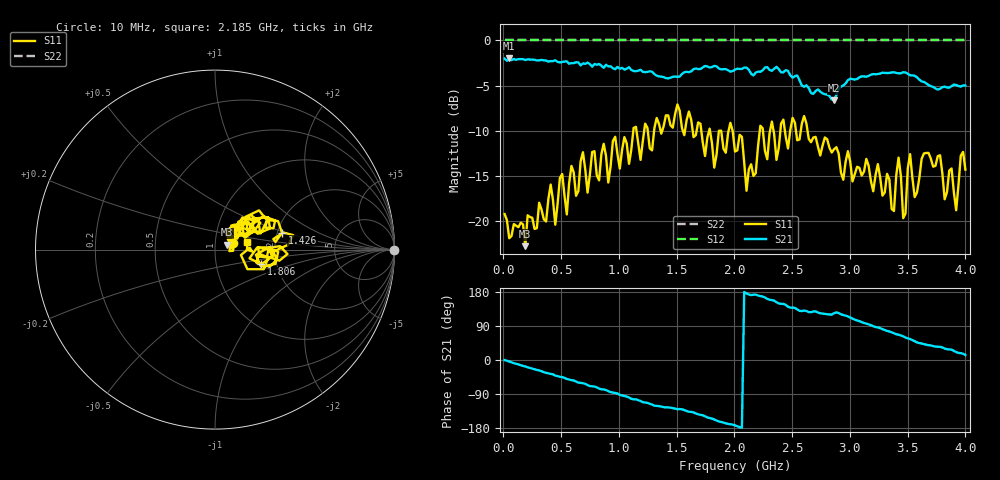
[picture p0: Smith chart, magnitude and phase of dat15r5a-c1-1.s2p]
! Anritsu VNA Master:  Model: MS2024B
! SN:  2417009
! /card0/usr/dat15r5a-c1-1.s2p
! Existing Calibration Information:
! TYPE:  Current Settings,  Active Cal Settings
! TIME:  11/03/2026 03:20:18 PM,  11/03/2026 01:15:51 PM
! INTERNAL TEMP:  49.8 C,  37.0 C
! # POINTS:  201,  201
! START FREQ:  10.000 MHz,  10.000 MHz
! STOP FREQ:  4.000 GHz,  4.000 GHz
! SOURCE POWER:  Default,  Default
! IFBW:  1 kHz,  1 kHz
! AVG FACTOR:  1 ,  1
! REF PLANE 1:  0 mm,  0 mm
! REF PLANE 2:  0 mm,  0 mm
! CAL TYPE:  1P2P S11,S21,  1P2P S11,S21
! CAL METHOD:  SOLT,  SOLT
! CAL LINE TYPE:  Coax,  Coax
! DUT PORT 1:  N-Conn(M),  N-Conn(M)
! DUT PORT 2:  N-Conn(M),  N-Conn(M)
! CAL STATUS:  X: Accuracy low (|Temp diff| > 10.0 C),  --
# GHZ S DB R 50.0
! FREQ.GHZ  S11DB  S11A  S21DB  S21A  S12DB  S12A  S22DB  S22A
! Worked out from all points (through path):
!   201 points, 10 MHz to 4 GHz, reference 50 ohm
!   highest |S21| = -1.99 dB at 49.9 MHz (marker M1); lowest = -6.6 dB at 2.863 GHz (marker M2)
!   group delay of S21, straight-line fit = 236 ps
!   lowest |S11| = -22.7 dB at 189.6 MHz (marker M3), VSWR 1.16, Z = 57.2 + j3.12 ohm
!   |S11| at or under -10 dB: start of sweep to 1.124 GHz; 1.984 GHz to 2.219 GHz (235 MHz wide, 11.2 % of centre); 2.633 GHz to end of sweep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
!   |S22| runs from 0.0 to 0.0 dB; largest |S21 - S12| = 1.7
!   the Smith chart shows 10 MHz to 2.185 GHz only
!   S11 on the Smith chart (normalised r, x): 10 MHz: 1.22, +0.10; 1.426 GHz: 2.12, +0.47; 1.806 GHz: 1.67, -0.29; 2.185 GHz: 1.43, +0.12
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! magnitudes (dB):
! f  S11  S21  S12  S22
! 10 MHz  -19.2  -2.0  0.0  0.0
! 49.9 MHz  -21.9  -2.0  0.0  0.0
! 189.6 MHz  -22.7  -2.2  0.0  0.0
! 688.3 MHz  -12.4  -2.5  0.0  0.0
! 728.2 MHz  -16.8  -2.5  0.0  0.0
! 1.347 GHz  -9.2  -4.0  0.0  0.0
! 1.426 GHz  -8.3  -4.2  0.0  0.0
! 1.806 GHz  -11.3  -2.9  0.0  0.0
! 2.005 GHz  -12.3  -3.2  0.0  0.0
! 2.185 GHz  -14.7  -3.6  0.0  0.0
! 2.224 GHz  -9.4  -3.5  0.0  0.0
! 2.683 GHz  -10.7  -5.9  0.0  0.0
! 2.863 GHz  -12.0  -6.6  0.0  0.0
! 3.342 GHz  -15.4  -3.6  0.0  0.0
! 3.382 GHz  -18.9  -3.5  0.0  0.0
! 3.421 GHz  -13.0  -3.6  0.0  0.0
! 3.461 GHz  -19.6  -3.5  0.0  0.0
! 3.521 GHz  -12.6  -3.9  0.0  0.0
! 3.561 GHz  -17.3  -3.9  0.0  0.0
! 3.781 GHz  -12.7  -5.3  0.0  0.0
! 3.92 GHz  -18.8  -4.9  0.0  0.0
! 4 GHz  -14.3  -5.0  0.0  0.0
